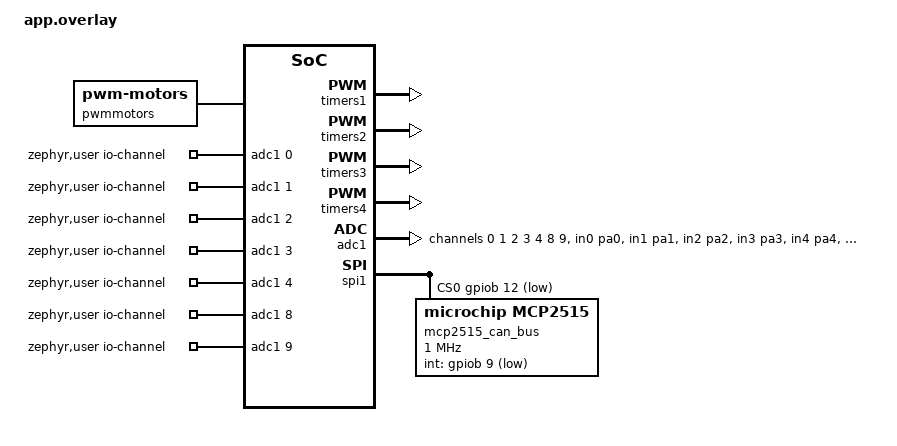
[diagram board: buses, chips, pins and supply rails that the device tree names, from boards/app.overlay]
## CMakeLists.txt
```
cmake_minimum_required(VERSION 3.13.1)
set(BOARD blackpill_f401cc)
set(DTC_OVERLAY_FILE "boards/app.overlay")
find_package(Zephyr REQUIRED HINTS $ENV{ZEPHYR_BASE})

project(kyvernitis LANGUAGES C)

target_sources(app PRIVATE src/main.c)
```

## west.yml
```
manifest:

  projects:
    - name: zephyr
      url: https://github.com/zephyrproject-rtos/zephyr
      revision: v3.5.0
      path: zephyr
      west-commands: scripts/west-commands.yml
      import: 
        name-allowlist:
          - cmsis
          - hal_stm32

    - name: libcanard 
      url: https://github.com/waseemr02/libcanard
      revision: master 
      path: modules/lib/canard

  self:
    path: kyvernitis
```

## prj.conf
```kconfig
CONFIG_SENSOR=y
CONFIG_ADC=y
CONFIG_PWM=y

# CONFIG_POLL=y
# CONFIG_CAN=y
# CONFIG_CAN_INIT_PRIORITY=80
# CONFIG_CAN_MAX_FILTER=5
# CONFIG_LOOPBACK_MODE=n
# 
# CONFIG_SHELL=y
# CONFIG_CAN_SHELL=y
# CONFIG_DEVICE_SHELL=y

CONFIG_GPIO=y
# CONFIG_STATS=y
# CONFIG_STATS_NAMES=y
# CONFIG_STATS_SHELL=y
# CONFIG_CAN_STATS=y

# CONFIG_CONSOLE=y
# CONFIG_RAM_CONSOLE=y
# CONFIG_RAM_CONSOLE_BUFFER_SIZE=1024
# CONFIG_USE_SEGGER_RTT=y
# CONFIG_RTT_CONSOLE=y

CONFIG_CANARD=y
```

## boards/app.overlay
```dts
/ {	
	pwmmotors {
		compatible = "pwm-motors";
		pwm_motor_1: pwm_1 {
			pwms = <&pwm1 0 PWM_MSEC(20) (PWM_POLARITY_NORMAL)>;
			min-pulse = <PWM_USEC(1000)>;
			max-pulse = <PWM_USEC(2000)>;
		};
		pwm_motor_2: pwm_2 {
			pwms = <&pwm2 1 PWM_MSEC(20) (PWM_POLARITY_NORMAL)>;
			min-pulse = <PWM_USEC(1000)>;
			max-pulse = <PWM_USEC(2000)>;
		};

		pwm_servo_1: pwm_3 {
			pwms = <&pwm3 2 PWM_MSEC(20) (PWM_POLARITY_NORMAL)>;
			min-pulse = <PWM_USEC(1000)>;
			max-pulse = <PWM_USEC(2000)>;
		};

		pwm_servo_2: pwm_4 {
			pwms = <&pwm4 3 PWM_MSEC(20) (PWM_POLARITY_NORMAL)>;
			min-pulse = <PWM_USEC(1000)>;
			max-pulse = <PWM_USEC(2000)>;
		};
	};

	zephyr,user {
		io-channels = <&adc1 0>, <&adc1 1>, <&adc1 2>, <&adc1 3>, <&adc1 4>, <&adc1 8>, <&adc1 9>;
	};

	aliases {
		pwm-motor1 = &pwm_motor_1;
		pwm-motor2 = &pwm_motor_2;
		pwm-servo1 = &pwm_servo_1;
		pwm-servo2 = &pwm_servo_2;
	};

	chosen {
		zephyr,canbus = &mcp2515_can_bus;
	};

};

&timers1 {
	status = "okay";

	pwm1: pwm {
		status = "okay";
		pinctrl-0 = <&tim1_ch3n_pb15>; 
		pinctrl-names = "default";
	};	
};

&timers2 {
	status = "okay";

	pwm2: pwm {
		status = "okay";
		pinctrl-0 = <&tim2_ch1_pa15>;
		pinctrl-names = "default";
	};
};

&timers3 {
	status = "okay";

	pwm3: pwm {
		status = "okay";
		pinctrl-0 = <&tim3_ch2_pb5>;
		pinctrl-names = "default";
	};
};

&timers4 {
	status = "okay";

	pwm4: pwm {
		status = "okay";
		pinctrl-0 = <&tim4_ch3_pb8>;
		pinctrl-names = "default";
	};
};

&adc1 {
	pinctrl-0 = <&adc1_in0_pa0 &adc1_in1_pa1 &adc1_in2_pa2 &adc1_in3_pa3 &adc1_in4_pa4 &adc1_in8_pb0 &adc1_in9_pb1>;
	pinctrl-names = "default";
	#address-cells = <1>;
	#size-cells = <0>;

	channel@0 {
		reg = <0>;
		zephyr,gain = "ADC_GAIN_1";
		zephyr,reference = "ADC_REF_INTERNAL";
		zephyr,acquisition-time = <ADC_ACQ_TIME_DEFAULT>;
		zephyr,resolution = <12>;
	};

	channel@1 {
		reg = <1>;
		zephyr,gain = "ADC_GAIN_1";
		zephyr,reference = "ADC_REF_INTERNAL";
		zephyr,acquisition-time = <ADC_ACQ_TIME_DEFAULT>;
		zephyr,resolution = <12>;
	};

	channel@2 {
		reg = <2>;
		zephyr,gain = "ADC_GAIN_1";
		zephyr,reference = "ADC_REF_INTERNAL";
		zephyr,acquisition-time = <ADC_ACQ_TIME_DEFAULT>;
		zephyr,resolution = <12>;
	};

	channel@3 {
		reg = <3>;
		zephyr,gain = "ADC_GAIN_1";
		zephyr,reference = "ADC_REF_INTERNAL";
		zephyr,acquisition-time = <ADC_ACQ_TIME_DEFAULT>;
		zephyr,resolution = <12>;
	};

	channel@4 {
		reg = <4>;
		zephyr,gain = "ADC_GAIN_1";
		zephyr,reference = "ADC_REF_INTERNAL";
		zephyr,acquisition-time = <ADC_ACQ_TIME_DEFAULT>;
		zephyr,resolution = <12>;
	};

	channel@8 {
		reg = <8>;
		zephyr,gain = "ADC_GAIN_1";
		zephyr,reference = "ADC_REF_INTERNAL";
		zephyr,acquisition-time = <ADC_ACQ_TIME_DEFAULT>;
		zephyr,resolution = <12>;
	};

	channel@9 {
		reg = <9>;
		zephyr,gain = "ADC_GAIN_1";
		zephyr,reference = "ADC_REF_INTERNAL";
		zephyr,acquisition-time = <ADC_ACQ_TIME_DEFAULT>;
		zephyr,resolution = <12>;
	};
};

&spi1 {
	status = "okay";
	cs-gpios = <&gpiob 12 GPIO_ACTIVE_LOW>;	
	mcp2515_can_bus: can@0 {
		compatible = "microchip,mcp2515";
		spi-max-frequency = <1000000>;
		int-gpios = <&gpiob 9 GPIO_ACTIVE_LOW>; /* B9 */
		status = "okay";
		reg = <0x0>;
		osc-freq = <8000000>;
		bus-speed = <125000>;
		sjw = <1>;
		sample-point = <875>;

		can-transceiver {
			max-bitrate = <1000000>;
		};
	};
};
```

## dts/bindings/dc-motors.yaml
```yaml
description: DC motors driven by gpios, specifically driven by L293D (parent node)

compatible: "dc-motors"

child-binding:
  description: GPIO-driven dc motor (child node)
  properties:
    gpios:
      required: true
      type: phandle-array
      description: |
        Input pins for the motor

    label:
      type: string
      description: |
        Human readable string describing the motor. 
```

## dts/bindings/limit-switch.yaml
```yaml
description: Limit Switch Binding 

compatible: "limit-switches"

properties:
  gpios:
    type: phandle-array
    required: true
    description: |
      GPIO pin phandle for each instance of limit switch. 
```

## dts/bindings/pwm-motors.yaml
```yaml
description: PWM-driven motors (parent node)

compatible: "pwm-motors"

include: base.yaml

child-binding:
  description: PWM-driven motors (child node)
  properties:
    pwms:
      required: true
      type: phandle-array
      description: PWM specifier driving the motor

    min-pulse:
      required: true
      type: int  
      description: Minimum pulse width (nanoseconds)

    max-pulse:
      required: true
      type: int 
      description: Maximum pulse width (nanoseconds)
```

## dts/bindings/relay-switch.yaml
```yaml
description: Relay Switch Binding 

compatible: "relay-switches"

properties:
  gpios:
    type: phandle-array
    required: true
    description: |
      GPIO pin phandle for each instance of relay switch. 
```

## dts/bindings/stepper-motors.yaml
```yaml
description: Stepper motors driven by TB6600 (parent node)

compatible: "stepper-motors"

child-binding:
  description: GPIO-driven dc motor (child node)
  properties:
    dir-gpios:
      required: true
      type: phandle-array
      description: |
        Dir pin for the motor

    step-gpios:
      required: true
      type: phandle-array
      description: |
        Step pin for the motor

    label:
      type: string
      description: |
        Human readable string describing the motor. 
```

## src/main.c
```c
#include <zephyr/device.h>
#include <zephyr/devicetree.h>
#include <zephyr/drivers/gpio.h>
#include <zephyr/drivers/adc.h>
#include <zephyr/drivers/pwm.h>
#include <zephyr/kernel.h>
#include <zephyr/sys/printk.h>
#include <zephyr/sys/util.h>

#include <zephyr/logging/log.h>

LOG_MODULE_REGISTER(main, CONFIG_LOG_DEFAULT_LEVEL);

#if !DT_NODE_EXISTS(DT_PATH(zephyr_user)) || \
	!DT_NODE_HAS_PROP(DT_PATH(zephyr_user), io_channels)
#error "No suitable devicetree overlay specified"
#endif

#define DT_SPEC_AND_COMMA(node_id, prop, idx) \
	ADC_DT_SPEC_GET_BY_IDX(node_id, idx),

static const uint8_t pwm_motor_count = 4;

/* Data of ADC io-channels specified in devicetree. */
static const struct adc_dt_spec adc_channels[] = {
	DT_FOREACH_PROP_ELEM(DT_PATH(zephyr_user), io_channels,
			     DT_SPEC_AND_COMMA)
};

static const struct gpio_dt_spec led = GPIO_DT_SPEC_GET(DT_ALIAS(led0), gpios);

struct pwm_motor {
	const struct pwm_dt_spec dev_spec;
	const uint32_t min_pulse;
	const uint32_t max_pulse;
};

static const struct pwm_motor roboclaw_1 = {
	
	.dev_spec = PWM_DT_SPEC_GET(DT_ALIAS(pwm_motor1)),
	.min_pulse = DT_PROP(DT_ALIAS(pwm_motor1), min_pulse),
	.max_pulse = DT_PROP(DT_ALIAS(pwm_motor1), max_pulse)
};

static const struct pwm_motor roboclaw_2 = {
	.dev_spec = PWM_DT_SPEC_GET(DT_ALIAS(pwm_motor2)),
	.min_pulse = DT_PROP(DT_ALIAS(pwm_motor2), min_pulse),
	.max_pulse = DT_PROP(DT_ALIAS(pwm_motor2), max_pulse)
};

static const struct pwm_motor servo_1 = {
	.dev_spec = PWM_DT_SPEC_GET(DT_ALIAS(pwm_servo1)),
	.min_pulse = DT_PROP(DT_ALIAS(pwm_servo1), min_pulse),
	.max_pulse = DT_PROP(DT_ALIAS(pwm_servo1), max_pulse)
};

static const struct pwm_motor servo_2 = {
	.dev_spec = PWM_DT_SPEC_GET(DT_ALIAS(pwm_servo2)),
	.min_pulse = DT_PROP(DT_ALIAS(pwm_servo2), min_pulse),
	.max_pulse = DT_PROP(DT_ALIAS(pwm_servo2), max_pulse)
};


// Wrapper around pwm_set_pulse_dt to ensure that pulse_width
// remains under max-min range
static inline int pwm_motor_write(const struct pwm_motor *motor, uint32_t pulse_width)
{
	// wrapper around pwm_set_pulse_dt to ensure that pulse_width 
	// remains under max-min range
	if (pulse_width <= motor->min_pulse)
		pulse_width = motor->min_pulse;
	if (pulse_width >= motor->max_pulse)
		pulse_width = motor->max_pulse;
	
	int ret = pwm_set_pulse_dt(&(motor->dev_spec), pulse_width);
	return ret;
}

// returns the number of ready pwm motors
static inline int pwm_motors_ready()
{
	uint8_t device_count = 0;
	if (!pwm_is_ready_dt(&(roboclaw_1.dev_spec))){
		printk("Error: PWM device %s is not ready\n", roboclaw_1.dev_spec.dev->name);
		device_count += 1;
	}

	if (!pwm_is_ready_dt(&(roboclaw_2.dev_spec))){
		printk("Error: PWM device %s is not ready\n", roboclaw_2.dev_spec.dev->name);
		device_count += 1;
	}

	if (!pwm_is_ready_dt(&(servo_1.dev_spec))){
		printk("Error: PWM device %s is not ready\n", servo_1.dev_spec.dev->name);
		device_count += 1;
	}

	if (!pwm_is_ready_dt(&(servo_2.dev_spec))){
		printk("Error: PWM device %s is not ready\n", servo_2.dev_spec.dev->name);
		device_count += 1;
	}

	return device_count;
}

enum direction {
	DOWN,
	UP,
};

int main(void)
{
	int err;
	uint32_t count = 0;
	uint16_t buf;
	uint32_t pulse = 150000;
	enum direction dir = UP;
	struct adc_sequence sequence = {
		.buffer = &buf,
		/* buffer size in bytes, not number of samples */
		.buffer_size = sizeof(buf),
	};
	
	/* Configure channels individually prior to sampling. */
	for (size_t i = 0U; i < ARRAY_SIZE(adc_channels); i++) {
		if (!adc_is_ready_dt(&adc_channels[i])) {
			printk("ADC controller device %s not ready\n", adc_channels[i].dev->name);
			return 0;
		}

		err = adc_channel_setup_dt(&adc_channels[i]);
		if (err < 0) {
			printk("Could not setup channel #%d (%d)\n", i, err);
			return 0;
		}
	}
	
	if (pwm_motors_ready() == pwm_motor_count)
	{
		printk("Error: All instances of PWM motors are not ready\n");
		return 0;
	}
	if (!gpio_is_ready_dt(&led))
	{
		printk("Error: Led not ready\n");
		return 0;
	}
	if (gpio_pin_configure_dt(&led, GPIO_OUTPUT_ACTIVE) < 0)
	{
		printk("Error: Led not configured\n");
		return 0;
	}
	pwm_motor_write(&roboclaw_1, pulse);
	pwm_motor_write(&roboclaw_2, pulse);
	pwm_motor_write(&servo_1, pulse);
	pwm_motor_write(&servo_2, pulse);
	k_sleep(K_SECONDS(10));

	while (1) {
		printk("ADC reading[%u]:\n", count++);
		for (size_t i = 0U; i < ARRAY_SIZE(adc_channels); i++) {
			int32_t val_mv;

			printk("- %s, channel %d: ",
			       adc_channels[i].dev->name,
			       adc_channels[i].channel_id);

			(void)adc_sequence_init_dt(&adc_channels[i], &sequence);

			err = adc_read_dt(&adc_channels[i], &sequence);
			if (err < 0) {
				printk("Could not read (%d)\n", err);
				continue;
			}

			/*
			 * If using differential mode, the 16 bit value
			 * in the ADC sample buffer should be a signed 2's
			 * complement value.
			 */
			if (adc_channels[i].channel_cfg.differential) {
				val_mv = (int32_t)((int16_t)buf);
			} else {
				val_mv = (int32_t)buf;
			}
			printk("%"PRId32, val_mv);
			err = adc_raw_to_millivolts_dt(&adc_channels[i],
						       &val_mv);
			/* conversion to mV may not be supported, skip if not */
			if (err < 0) {
				printk(" (value in mV not available)\n");
			} else {
				printk(" = %"PRId32" mV\n", val_mv);
			}
		}
		while (dir == UP)
		{
			err = pwm_motor_write(&roboclaw_1, pulse);
			err += pwm_motor_write(&roboclaw_2, pulse);
			err += pwm_motor_write(&servo_1, pulse);
			err += pwm_motor_write(&servo_2, pulse);
			if (err < 0)
			{
				printk("Error: %d failed to set pulse width\n", err);
				return 0;
			}

			pulse += 29000;

			if (pulse >= 295000)
				dir = DOWN;
			gpio_pin_toggle_dt(&led);
			k_sleep(K_SECONDS(1));
		}
		while (dir == DOWN)
		{
			err = pwm_motor_write(&roboclaw_1, pulse);
			err += pwm_motor_write(&roboclaw_2, pulse);
			err += pwm_motor_write(&servo_1, pulse);
			err += pwm_motor_write(&servo_2, pulse);

			if (err < 0)
			{
				printk("Error: %d failed to set pulse width\n", err);
				return 0;
			}

			pulse -= 29000;

			if (pulse <= 5000)
				dir = UP;
			gpio_pin_toggle_dt(&led);
			k_sleep(K_SECONDS(1));
		}
	}
	return 0;
}
```
